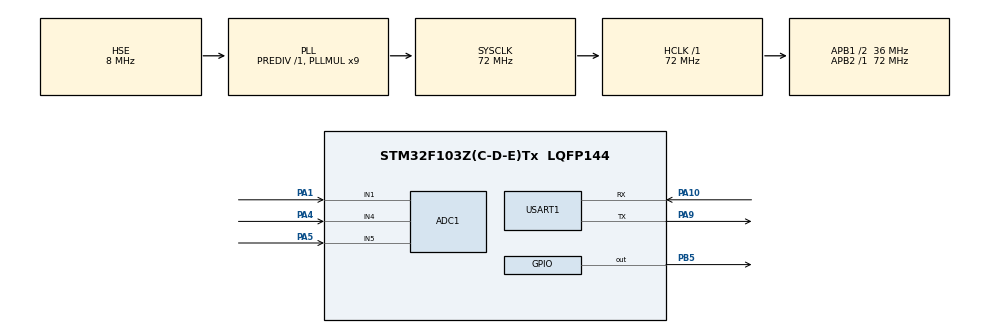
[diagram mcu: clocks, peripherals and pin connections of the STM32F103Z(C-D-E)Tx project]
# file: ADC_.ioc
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ADC1.Channel-0\#ChannelRegularConversion=ADC_CHANNEL_1
ADC1.Channel-1\#ChannelRegularConversion=ADC_CHANNEL_4
ADC1.Channel-2\#ChannelRegularConversion=ADC_CHANNEL_5
ADC1.Channel-3\#ChannelRegularConversion=ADC_CHANNEL_TEMPSENSOR
ADC1.Channel-4\#ChannelRegularConversion=ADC_CHANNEL_VREFINT
ADC1.ContinuousConvMode=DISABLE
ADC1.DiscontinuousConvMode=ENABLE
ADC1.EnableInjectedConversion=DISABLE
ADC1.ExternalTrigConv=ADC_EXTERNALTRIGCONV_T3_TRGO
ADC1.NbrOfConversion=5
ADC1.NbrOfConversionFlag=1
ADC1.Rank-0\#ChannelRegularConversion=1
ADC1.Rank-1\#ChannelRegularConversion=2
ADC1.Rank-2\#ChannelRegularConversion=3
ADC1.Rank-3\#ChannelRegularConversion=4
ADC1.Rank-4\#ChannelRegularConversion=5
ADC1.SamplingTime-0\#ChannelRegularConversion=ADC_SAMPLETIME_1CYCLE_5
ADC1.SamplingTime-1\#ChannelRegularConversion=ADC_SAMPLETIME_1CYCLE_5
ADC1.SamplingTime-2\#ChannelRegularConversion=ADC_SAMPLETIME_1CYCLE_5
ADC1.SamplingTime-3\#ChannelRegularConversion=ADC_SAMPLETIME_1CYCLE_5
ADC1.SamplingTime-4\#ChannelRegularConversion=ADC_SAMPLETIME_1CYCLE_5
ADC1.master=1
Dma.ADC1.0.Direction=DMA_PERIPH_TO_MEMORY
Dma.ADC1.0.Instance=DMA1_Channel1
Dma.ADC1.0.MemDataAlignment=DMA_MDATAALIGN_HALFWORD
Dma.ADC1.0.MemInc=DMA_MINC_ENABLE
Dma.ADC1.0.Mode=DMA_CIRCULAR
Dma.ADC1.0.PeriphDataAlignment=DMA_PDATAALIGN_HALFWORD
Dma.ADC1.0.PeriphInc=DMA_PINC_DISABLE
Dma.ADC1.0.Priority=DMA_PRIORITY_LOW
Dma.Request0=ADC1
Mcu.Family=STM32F1
Mcu.Name=STM32F103Z(C-D-E)Tx
Mcu.Package=LQFP144
NVIC.ADC1_2_IRQn=true\:3\:0\:true\:false\:true\:true\:true\:true
NVIC.DMA1_Channel1_IRQn=true\:0\:0\:false\:false\:true\:false\:true\:true
NVIC.PriorityGroup=NVIC_PRIORITYGROUP_4
NVIC.RCC_IRQn=true\:0\:0\:false\:false\:true\:true\:false\:true
NVIC.TIM3_IRQn=true\:0\:0\:false\:false\:true\:true\:true\:true
NVIC.USART1_IRQn=true\:4\:0\:true\:false\:true\:true\:true\:true
OSC_IN.Mode=HSE-External-Oscillator
OSC_IN.Signal=RCC_OSC_IN
OSC_OUT.Mode=HSE-External-Oscillator
OSC_OUT.Signal=RCC_OSC_OUT
PA1.Signal=ADCx_IN1
PA10.GPIO_Mode=GPIO_MODE_INPUT
PA10.Mode=Asynchronous
PA10.Signal=USART1_RX
PA4.Signal=ADCx_IN4
PA5.Signal=ADCx_IN5
PA9.GPIO_Mode=GPIO_MODE_AF_PP
PA9.Mode=Asynchronous
PA9.Signal=USART1_TX
PB5.GPIO_Speed=GPIO_SPEED_FREQ_HIGH
PB5.PinState=GPIO_PIN_RESET
PB5.Signal=GPIO_Output
ProjectManager.HeapSize=0x200
ProjectManager.StackSize=0x400
ProjectManager.TargetToolchain=MDK-ARM V5.32
RCC.ADCPresc=RCC_ADCPCLK2_DIV6
RCC.AHBFreq_Value=72000000
RCC.APB1CLKDivider=RCC_HCLK_DIV2
RCC.APB1Freq_Value=36000000
RCC.APB1TimFreq_Value=72000000
RCC.APB2Freq_Value=72000000
RCC.APB2TimFreq_Value=72000000
RCC.EnbaleCSS=true
RCC.HCLKFreq_Value=72000000
RCC.PLLMUL=RCC_PLL_MUL9
RCC.PLLSourceVirtual=RCC_PLLSOURCE_HSE
RCC.SYSCLKFreq_VALUE=72000000
RCC.SYSCLKSource=RCC_SYSCLKSOURCE_PLLCLK
RCC.USBFreq_Value=72000000
SH.ADCx_IN1.0=ADC1_IN1,IN1
SH.ADCx_IN4.0=ADC1_IN4,IN4
SH.ADCx_IN5.0=ADC1_IN5,IN5
TIM3.AutoReloadPreload=TIM_AUTORELOAD_PRELOAD_ENABLE
TIM3.Period=10000-1
TIM3.Prescaler=7200-1
TIM3.TIM_MasterOutputTrigger=TIM_TRGO_UPDATE
USART1.VirtualMode=VM_ASYNC
VP_ADC1_TempSens_Input.Mode=IN-TempSens
VP_ADC1_Vref_Input.Mode=IN-Vrefint
VP_SYS_VS_ND.Mode=No_Debug
VP_TIM3_VS_ClockSourceINT.Mode=Internal
board=custom

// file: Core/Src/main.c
/* USER CODE BEGIN Header */
/**
  ******************************************************************************
  * @file           : main.c
  * @brief          : Main program body
  ******************************************************************************
  * @attention
  *
  * Copyright (c) 2024 STMicroelectronics.
  * All rights reserved.
  *
  * This software is licensed under terms that can be found in the LICENSE file
  * in the root directory of this software component.
  * If no LICENSE file comes with this software, it is provided AS-IS.
  *
  ******************************************************************************
  */
/* USER CODE END Header */
#include "main.h"
#include "adc.h"
#include "dma.h"
#include "tim.h"
#include "usart.h"
#include "gpio.h"

/* USER CODE BEGIN Includes */

#include <stdio.h>
#include <string.h>

#include "bsp_adc\bsp_adc.h"

/* USER CODE END Includes */

/* USER CODE BEGIN PTD */
#define VALUE_MAX_LONG 5
uint32_t GetADC_Value[VALUE_MAX_LONG] = {0};
float Vout_value;
float Temp_Value;

/* USER CODE END PTD */

/* USER CODE BEGIN PV */

int fputc(int ch,FILE *f)

{

	HAL_UART_Transmit(&huart1,(uint8_t *)&ch,1,HAL_MAX_DELAY);

	return ch;

}

/* USER CODE END PV */

void SystemClock_Config(void);

int main(void)
{
  /* USER CODE BEGIN 1 */
	int i = 0;
  /* USER CODE END 1 */

  /* MCU Configuration--------------------------------------------------------*/

  /* Reset of all peripherals, Initializes the Flash interface and the Systick. */
  HAL_Init();

  /* Configure the system clock */
  SystemClock_Config();

  /* Initialize all configured peripherals */
  MX_GPIO_Init();
  MX_DMA_Init();
  MX_ADC1_Init();
  MX_USART1_UART_Init();
  MX_TIM3_Init();
  /* USER CODE BEGIN 2 */
	printf("STM\r\n");

	HAL_ADCEx_Calibration_Start(&hadc1);    //ADC校准
	HAL_TIM_Base_Start_IT(&htim3);	//开启定时器
	HAL_ADC_Start_DMA(&hadc1,(uint32_t *)GetADC_Value,5);  //开启DMA

  /* USER CODE END 2 */

  /* Infinite loop */
  /* USER CODE BEGIN WHILE */
  while (1)
  {

		Vout_value = GetADC_Value[3] / 4096.0 * 3.3;
		Temp_Value = (1.43 - GetADC_Value[4] *3.3f / 4096) /0.0043 + 25;

		printf("ADC PA1 read value : %d \r\n",GetADC_Value[0]);
		printf("ADC PA4 read value : %d \r\n",GetADC_Value[1]);
		printf("ADC PA5 read value : %d \r\n",GetADC_Value[2]);
		printf("change voltage value : %.2f \r\n",Vout_value);
		printf("change Temp value : %.4f \r\n",Temp_Value);
		printf("\r\n");
		printf("\r\n");
		HAL_GPIO_TogglePin(GPIOB,GPIO_PIN_5);
		HAL_Delay(1000);

    /* USER CODE END WHILE */

  }
}

void SystemClock_Config(void)
{
  RCC_OscInitTypeDef RCC_OscInitStruct = {0};
  RCC_ClkInitTypeDef RCC_ClkInitStruct = {0};
  RCC_PeriphCLKInitTypeDef PeriphClkInit = {0};

  /** Initializes the RCC Oscillators according to the specified parameters
  * in the RCC_OscInitTypeDef structure.
  */
  RCC_OscInitStruct.OscillatorType = RCC_OSCILLATORTYPE_HSE;
  RCC_OscInitStruct.HSEState = RCC_HSE_ON;
  RCC_OscInitStruct.HSEPredivValue = RCC_HSE_PREDIV_DIV1;
  RCC_OscInitStruct.HSIState = RCC_HSI_ON;
  RCC_OscInitStruct.PLL.PLLState = RCC_PLL_ON;
  RCC_OscInitStruct.PLL.PLLSource = RCC_PLLSOURCE_HSE;
  RCC_OscInitStruct.PLL.PLLMUL = RCC_PLL_MUL9;
  if (HAL_RCC_OscConfig(&RCC_OscInitStruct) != HAL_OK)
  {
    Error_Handler();
  }

  /** Initializes the CPU, AHB and APB buses clocks
  */
  RCC_ClkInitStruct.ClockType = RCC_CLOCKTYPE_HCLK|RCC_CLOCKTYPE_SYSCLK
                              |RCC_CLOCKTYPE_PCLK1|RCC_CLOCKTYPE_PCLK2;
  RCC_ClkInitStruct.SYSCLKSource = RCC_SYSCLKSOURCE_PLLCLK;
  RCC_ClkInitStruct.AHBCLKDivider = RCC_SYSCLK_DIV1;
  RCC_ClkInitStruct.APB1CLKDivider = RCC_HCLK_DIV2;
  RCC_ClkInitStruct.APB2CLKDivider = RCC_HCLK_DIV1;

  if (HAL_RCC_ClockConfig(&RCC_ClkInitStruct, FLASH_LATENCY_2) != HAL_OK)
  {
    Error_Handler();
  }
  PeriphClkInit.PeriphClockSelection = RCC_PERIPHCLK_ADC;
  PeriphClkInit.AdcClockSelection = RCC_ADCPCLK2_DIV6;
  if (HAL_RCCEx_PeriphCLKConfig(&PeriphClkInit) != HAL_OK)
  {
    Error_Handler();
  }

  /** Enables the Clock Security System
  */
  HAL_RCC_EnableCSS();
}

/* USER CODE BEGIN 4 */

/* 定时器 DMA */
/* 定时器回调函数，定时器溢出以后触发回调函数 */
/* 在定时器里面开启ADC DMA采集 */
void HAL_TIM_PeriodElapsedCallback(TIM_HandleTypeDef *htim)
{
  HAL_ADC_Start_DMA(&hadc1,(uint32_t *)GetADC_Value, 5);  //开启DMA
	//定时器中断里面开启ADC DMA 转换，1s开启一次采集
}

/* USER CODE END 4 */

void Error_Handler(void)
{
  __disable_irq();
  while (1)
  {
  }
}
